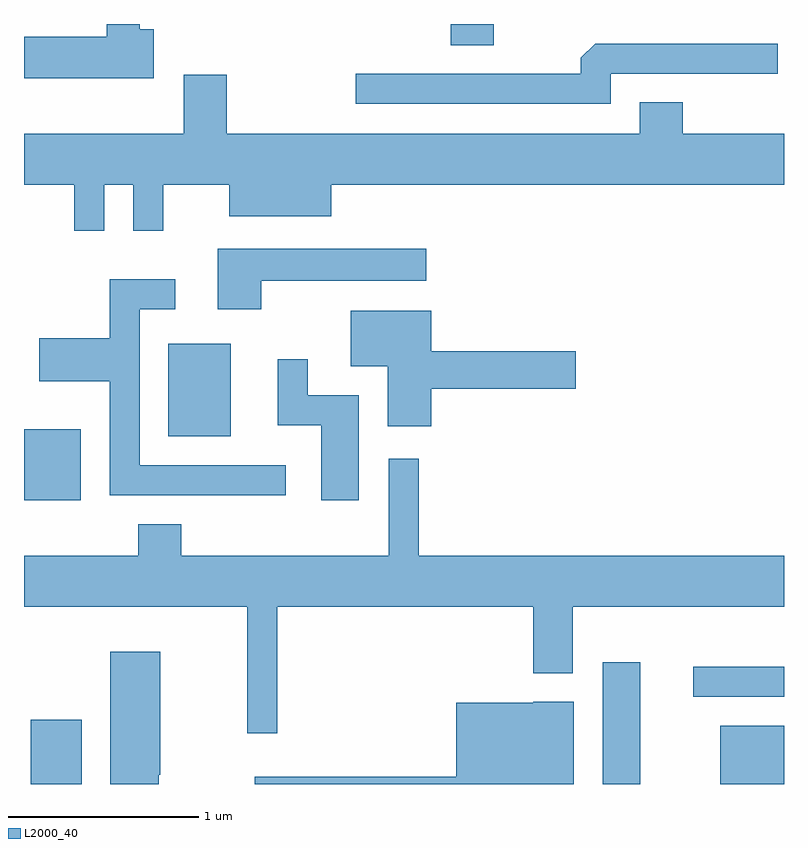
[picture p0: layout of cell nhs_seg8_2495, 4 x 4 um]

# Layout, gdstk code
import gdstk
lib = gdstk.Library(unit=1e-6, precision=1e-09)
def R(c, l, rs):  # rectangles x0, y0, x1, y1
    for r in rs: c.add(gdstk.rectangle(r[:2], r[2:], *l))
def P(c, l, *ps):  # polygons
    for p in ps: c.add(gdstk.Polygon(p, *l))
L2000_40 = (2000, 40)

nhs_seg8_2495 = lib.new_cell('nhs_seg8_2495')
R(nhs_seg8_2495, L2000_40, [(259.646,1864.342,259.914,1864.679), (262.656,1864.342,262.854,1864.984), (263.276,1864.342,263.611,1864.649), (263.133,1864.801,263.611,1864.959), (259.611,1865.836,259.909,1866.209), (260.371,1866.171,260.699,1866.659), (261.856,1868.231,262.084,1868.342)])
P(nhs_seg8_2495, L2000_40, [(260.294,1868.314),(260.219,1868.314),(260.219,1868.342),(260.046,1868.342),(260.046,1868.274),(259.611,1868.274),(259.611,1868.056),(260.294,1868.056)],
  [(262.699,1868.081),(263.578,1868.081),(263.578,1868.239),(262.617,1868.239),(262.541,1868.164),(262.541,1868.079),(261.358,1868.079),(261.358,1867.921),(262.699,1867.921)],
  [(260.034,1867.496),(260.186,1867.496),(260.186,1867.253),(260.344,1867.253),(260.344,1867.496),(260.691,1867.496),(260.691,1867.331),(261.229,1867.331),(261.229,1867.496),(263.611,1867.496),(263.611,1867.764),(263.079,1867.764),(263.079,1867.929),(262.851,1867.929),(262.851,1867.764),(260.679,1867.764),(260.679,1868.074),(260.451,1868.074),(260.451,1867.764),(259.611,1867.764),(259.611,1867.496),(259.876,1867.496),(259.876,1867.253),(260.034,1867.253)],
  [(260.859,1866.991),(261.728,1866.991),(261.728,1867.159),(260.631,1867.159),(260.631,1866.841),(260.859,1866.841)],
  [(260.988,1866.019),(260.219,1866.019),(260.219,1866.841),(260.408,1866.841),(260.408,1866.999),(260.061,1866.999),(260.061,1866.689),(259.691,1866.689),(259.691,1866.461),(260.061,1866.461),(260.061,1865.861),(260.988,1865.861)],
  [(261.754,1866.421),(262.514,1866.421),(262.514,1866.619),(261.754,1866.619),(261.754,1866.834),(261.331,1866.834),(261.331,1866.541),(261.526,1866.541),(261.526,1866.226),(261.754,1866.226)],
  [(261.374,1866.389),(261.104,1866.389),(261.104,1866.578),(260.946,1866.578),(260.946,1866.231),(261.176,1866.231),(261.176,1865.836),(261.374,1865.836)],
  [(260.944,1865.276),(262.291,1865.276),(262.291,1864.926),(262.499,1864.926),(262.499,1865.276),(263.611,1865.276),(263.611,1865.544),(261.689,1865.544),(261.689,1866.053),(261.531,1866.053),(261.531,1865.544),(260.439,1865.544),(260.439,1865.709),(260.211,1865.709),(260.211,1865.544),(259.611,1865.544),(259.611,1865.276),(260.786,1865.276),(260.786,1864.608),(260.944,1864.608)],
  [(260.319,1864.39),(260.329,1864.39),(260.329,1865.039),(260.066,1865.039),(260.066,1864.342),(260.319,1864.342)],
  [(262.504,1864.774),(262.29,1864.774),(262.29,1864.769),(261.886,1864.769),(261.886,1864.379),(260.826,1864.379),(260.826,1864.342),(262.504,1864.342)])

lib.write_gds('nhs_seg8_2495.gds')
